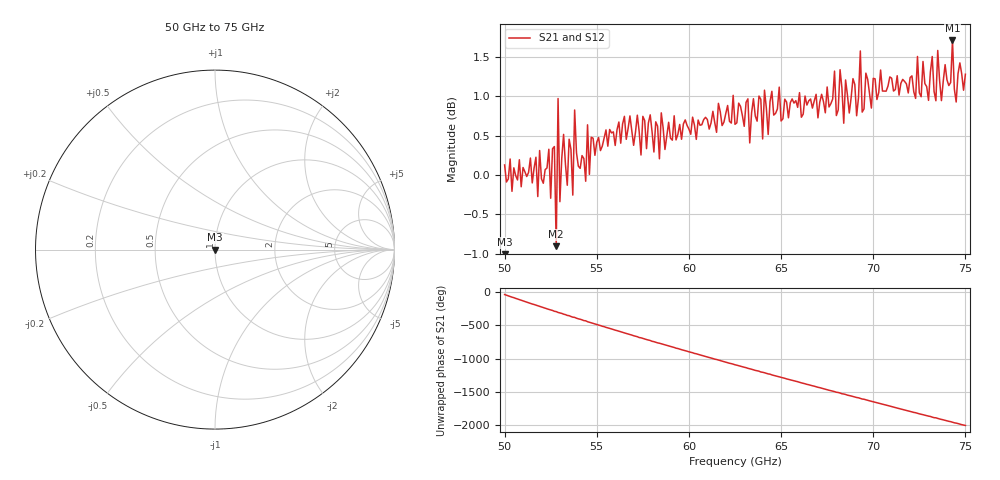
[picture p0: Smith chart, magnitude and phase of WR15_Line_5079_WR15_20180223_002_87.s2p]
# GHZ S RI R 50
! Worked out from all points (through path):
!   251 points, 50 GHz to 75 GHz, reference 50 ohm
!   highest |S21| = 1.71 dB at 74.3 GHz (marker M1); lowest = -0.9 dB at 52.8 GHz (marker M2)
!   lowest |S11| = - dB at 50 GHz (marker M3), VSWR 1.00, Z = 50 + j1.48e-15 ohm
!   |S11| at or under -10 dB: start of sweep to end of sweep
!   |S22| runs from - to - dB; largest |S21 - S12| = 1e-14
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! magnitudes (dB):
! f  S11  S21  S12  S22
! 50 GHz  -  0.1  0.1  -
! 52.4 GHz  -  0.3  0.3  -
! 52.5 GHz  -  -0.3  -0.3  -
! 52.7 GHz  -  0.4  0.4  -
! 52.8 GHz  -  -0.9  -0.9  -
! 52.9 GHz  -  1.0  1.0  -
! 53 GHz  -  -0.3  -0.3  -
! 53.2 GHz  -  0.5  0.5  -
! 53.7 GHz  -  -0.3  -0.3  -
! 53.8 GHz  -  0.8  0.8  -
! 54.2 GHz  -  0.2  0.2  -
! 58.4 GHz  -  0.2  0.2  -
! 58.5 GHz  -  0.8  0.8  -
! 62.5 GHz  -  0.6  0.6  -
! 66.7 GHz  -  0.9  0.9  -
! 70.9 GHz  -  1.2  1.2  -
! 73.4 GHz  -  0.9  0.9  -
! 73.5 GHz  -  1.6  1.6  -
! 73.7 GHz  -  0.9  0.9  -
! 74.3 GHz  -  1.7  1.7  -
! 74.5 GHz  -  0.9  0.9  -
! 75 GHz  -  1.3  1.3  -
